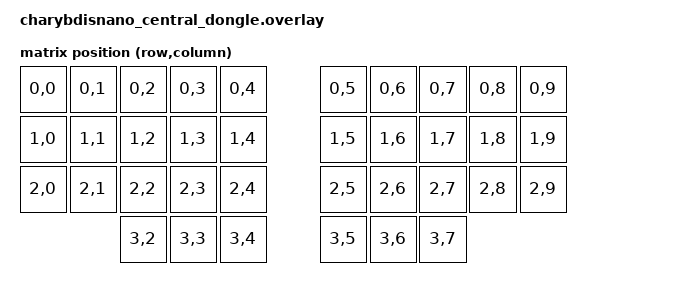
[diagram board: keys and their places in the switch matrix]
/*
 * Copyright (c) 2020 The ZMK Contributors
 *
 * SPDX-License-Identifier: MIT
 */
#include <dt-bindings/zmk/matrix_transform.h>

/ {
    chosen {
        zmk,kscan = &mock_kscan;
        zmk,matrix-transform = &default_transform;
        zephyr,display = &oled;
    };

    default_transform: keymap_transform_0 {
        compatible = "zmk,matrix-transform";
        columns = <10>;
        rows = <4>;
        map = <
	 RC(0,0) RC(0,1) RC(0,2) RC(0,3) RC(0,4)   RC(0,5)  RC(0,6) RC(0,7) RC(0,8) RC(0,9) 
	 RC(1,0) RC(1,1) RC(1,2) RC(1,3) RC(1,4)   RC(1,5)  RC(1,6) RC(1,7) RC(1,8) RC(1,9) 
	 RC(2,0) RC(2,1) RC(2,2) RC(2,3) RC(2,4)   RC(2,5)  RC(2,6) RC(2,7) RC(2,8) RC(2,9) 
					 RC(3,2) RC(3,3) RC(3,4)   RC(3,5)  RC(3,6) RC(3,7)
      >;
    };

    mock_kscan: kscan_0 {
        compatible = "zmk,kscan-mock";
        columns = <0>;
        rows = <0>;
        events = <0>;
    };
};

&pinctrl {
    spi1_default: spi1_default {
        group1 {
            psels = <NRF_PSEL(SPIM_SCK, 0, 8)>,
                <NRF_PSEL(SPIM_MOSI, 0, 17)>,
                <NRF_PSEL(SPIM_MISO, 0, 17)>;
        };
    };

    spi1_sleep: spi1_sleep {
        group1 {
            psels = <NRF_PSEL(SPIM_SCK, 0, 8)>,
                <NRF_PSEL(SPIM_MOSI, 0, 17)>,
                <NRF_PSEL(SPIM_MISO, 0, 17)>;
            low-power-enable;
        };
    };
};

// release gpio1 12 & 13 from xiao_ble-pinctrl.dtsi
// for &trackball { irq-gpios }
&uart0 {
	status = "disabled";
};
&spi1 {
	compatible = "nordic,nrf-spim";
	status = "disabled"; // <<< disabled in main .dtsi, okay in .overlay
	pd0: pd@0 {
		compatible = "pixart,pmw3610";
		status = "disabled";
		label = "TRACKBALL0";
		reg = <0>;
		spi-max-frequency = <4000000>;
	};
};
// Config custom gpios
&spi1 {
  status = "okay";
	pinctrl-0 = <&spi1_default>;
	pinctrl-1 = <&spi1_sleep>;
	pinctrl-names = "default", "sleep";
	cs-gpios = <&gpio0 20 GPIO_ACTIVE_LOW>;
};

#define INPUT_EV_KEY 0x01               /**< Key event */
#define INPUT_EV_REL 0x02               /**< Relative coordinate event */
#define INPUT_EV_ABS 0x03               /**< Absolute coordinate event */
#define INPUT_EV_MSC 0x04               /**< Miscellaneous event */
#define INPUT_EV_VENDOR_START 0xf0      /**< Vendor specific event start */
#define INPUT_EV_VENDOR_STOP 0xff       /**< Vendor specific event stop */

#define INPUT_REL_X 0x00                /**< Relative X coordinate */
#define INPUT_REL_Y 0x01                /**< Relative Y coordinate */
#define INPUT_REL_WHEEL 0x08            /**< Relative wheel coordinate */
#define INPUT_REL_HWHEEL 0x06           /**< Relative horizontal wheel coordinate */
#define INPUT_REL_MISC 0x09             /**< Relative misc coordinate */

&pd0 {
  status = "okay";
	irq-gpios = <&gpio0 6 (GPIO_ACTIVE_LOW | GPIO_PULL_UP)>;
	cpi = <2000>;
	evt-type = <INPUT_EV_REL>;
	x-input-code = <INPUT_REL_X>;
	y-input-code = <INPUT_REL_Y>;
};


/ {
	/* define virtual input, will be resurrected for emitting input event */
	/* NOTE: set `device = <&pd1>` in `zmk,input-listener` */
	pd1: virtual_input {
		compatible = "zmk,virtual-input";
	};
};

/ {
	/* for central side, define (relay-channel)-to-(virtual-input) mapping */
	input_relay_config_102 {
		compatible = "zmk,split-peripheral-input-relay";
		
		/* channel id, used to filter incoming annotated input event from split peripheral */
		/* NOTE: should matching relay-channel on peripheral overlay */
		relay-channel = <102>;

		/* virtual input device on central, which used to emit input event as an agent device */
		device = <&pd1>;
	};
};

&pro_micro_i2c {
    status = "okay";
    oled: sh1106@3c {
        compatible = "sinowealth,sh1106";
        reg = <0x3c>;
        width = <129>;
        height = <64>;
        segment-offset = <1>;
        page-offset = <0>;
        display-offset = <0>;
        multiplex-ratio = <63>;
        segment-remap;
        com-invdir;
        inversion-on;
        prechargep = <0x22>;
        };
}; 



